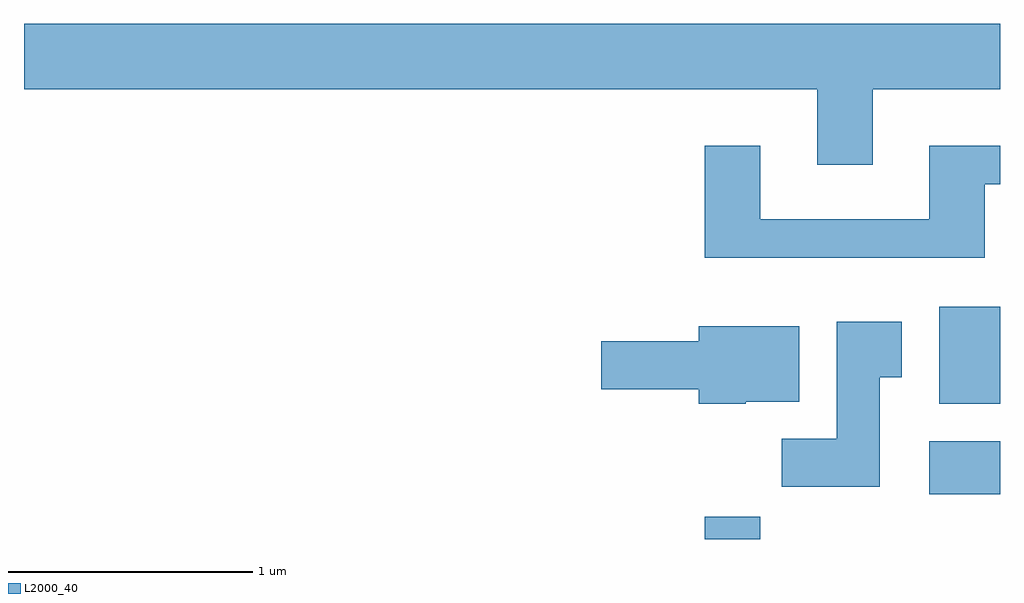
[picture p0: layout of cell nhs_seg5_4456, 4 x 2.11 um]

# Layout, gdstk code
import gdstk
lib = gdstk.Library(unit=1e-6, precision=1e-09)
def R(c, l, rs):  # rectangles x0, y0, x1, y1
    for r in rs: c.add(gdstk.rectangle(r[:2], r[2:], *l))
def P(c, l, *ps):  # polygons
    for p in ps: c.add(gdstk.Polygon(p, *l))
L2000_40 = (2000, 40)

nhs_seg5_4456 = lib.new_cell('nhs_seg5_4456')
R(nhs_seg5_4456, L2000_40, [(320.401,1446.072,320.629,1446.164), (321.321,1446.256,321.611,1446.474), (321.361,1446.626,321.611,1447.024)])
P(nhs_seg5_4456, L2000_40, [(321.089,1447.916),(321.611,1447.916),(321.611,1448.184),(317.611,1448.184),(317.611,1447.916),(320.861,1447.916),(320.861,1447.606),(321.089,1447.606)],
  [(321.549,1447.526),(321.611,1447.526),(321.611,1447.684),(321.321,1447.684),(321.321,1447.384),(320.629,1447.384),(320.629,1447.684),(320.401,1447.684),(320.401,1447.226),(321.549,1447.226)],
  [(321.119,1446.736),(321.209,1446.736),(321.209,1446.964),(320.941,1446.964),(320.941,1446.484),(320.716,1446.484),(320.716,1446.286),(321.119,1446.286)],
  [(320.57,1446.636),(320.789,1446.636),(320.789,1446.944),(320.376,1446.944),(320.376,1446.884),(319.976,1446.884),(319.976,1446.686),(320.376,1446.686),(320.376,1446.626),(320.57,1446.626)])

lib.write_gds('nhs_seg5_4456.gds')
